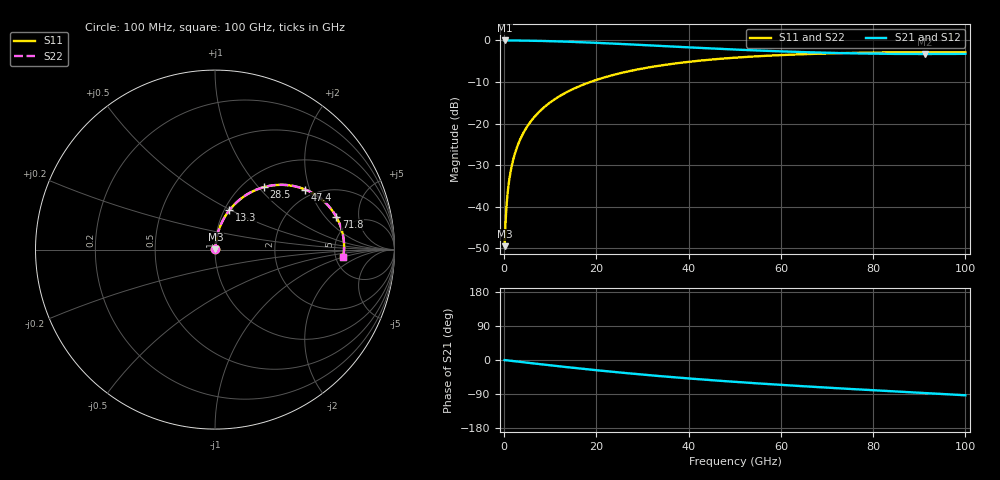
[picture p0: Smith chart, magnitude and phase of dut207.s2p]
! Touchstone file exported from HFSS 2026.1.0
!  File:  C:/ffzhzh/LocalFiles/Ansys_Project_Files/temp_train_RDL_207_1783500790_41296.aedt
!  Generated:  04:54:23 PM Jul  8, 2026
!  Design:  RDL
!  Project:  temp_train_RDL_207_1783500790_41296
! Variables:
!  h_bsmrdl = 2um
!  h_ox = 20um
!  h_rdl = 5um
!  h_sub = 80um
!  h_tmrdl = 3.19um
!  h_tsv = 80um
!  h_via = 3um
!  l_bsmrdl = 300um
!  l_sub = 698.47um
!  l_tmrdl = 298.47um
!  m_sub = 200um
!  pitch = 53.17um
!  r_tsv = 6um
!  s_tmrdl = 10um
!  w_bsmrdl = 18um
!  w_sub = 500um
!  w_tmrdl = 12.63um
!  x_tsv_center1 = 304.785um
!  x_tsv_center2 = 622.785um
!  x_tsv_center3 = 933.885um
!  x_tsv_center4 = 1251.885um
!  x_tsv_center5 = 1562.985um
!  x_tsv_center6 = 1880.985um
# GHz S MA R 50.000000
! Terminal data exported
! Port[1] = TM_RDL1_1_T1
! Port[2] = TM_RDL1_1_T2
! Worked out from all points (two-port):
!   1000 points, 100 MHz to 100 GHz, reference 50 ohm
!   highest |S21| = -0.02 dB at 100 MHz (marker M1); lowest = -3.3 dB at 91.2 GHz (marker M2)
!   |S21| within 3 dB of the highest: start of sweep to 71.45 GHz
!   lowest |S11| = -49.5 dB at 100 MHz (marker M3), VSWR 1.01, Z = 50.3 + j0.194 ohm
!   |S11| at or under -10 dB: start of sweep to 18.69 GHz
!   |S22| runs from -49.5 to -2.9 dB; largest |S21 - S12| = 3.2e-15
!   S11 on the Smith chart (normalised r, x): 100 MHz: 1.01, +0.00; 13.3 GHz: 1.06, +0.49; 28.5 GHz: 1.24, +1.07; 47.4 GHz: 1.77, +1.86; 71.8 GHz: 3.69, +2.63; 100 GHz: 5.84, -1.05
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0.1  0.003359 35.0  0.9973 -0.1  0.9973 -0.1  0.003359 35.0
! Gamma 0 0 0 0
! Port Impedance 50 0 50 0
0.4  0.008179 68.8  0.9971 -0.6  0.9971 -0.6  0.008179 68.8
0.8  0.01542 77.4  0.9968 -1.2  0.9968 -1.2  0.01542 77.4
1.3  0.02456 80.6  0.9965 -1.9  0.9965 -1.9  0.02456 80.6
1.7  0.0319 81.6  0.9962 -2.4  0.9962 -2.4  0.0319 81.7
2.2  0.04109 82.1  0.9958 -3.2  0.9958 -3.2  0.04109 82.1
3.4  0.06309 81.8  0.9944 -4.9  0.9944 -4.9  0.06309 81.8
5.1  0.09396 80.2  0.9914 -7.3  0.9914 -7.3  0.09396 80.2
7.3  0.1331 77.6  0.9862 -10.3  0.9862 -10.3  0.1331 77.6
10  0.1797 74.1  0.9779 -14.0  0.9779 -14.0  0.1797 74.1
13.3  0.2341 69.9  0.9654 -18.4  0.9654 -18.4  0.2341 69.9
16.8  0.2884 65.5  0.9498 -22.9  0.9498 -22.9  0.2884 65.5
22.2  0.3648 59.0  0.9224 -29.6  0.9224 -29.6  0.3648 59.1
28.5  0.4422 51.9  0.8876 -36.9  0.8876 -36.9  0.4422 52.0
33.4  0.4937 46.7  0.8601 -42.1  0.8601 -42.1  0.4937 46.8
47.4  0.6037 33.6  0.7875 -55.4  0.7875 -55.4  0.6037 33.8
50.1  0.6195 31.4  0.7753 -57.7  0.7753 -57.7  0.6195 31.5
66.7  0.6873 18.7  0.7172 -70.6  0.7172 -70.6  0.6873 18.8
71.8  0.6998 15.1  0.7053 -74.2  0.7053 -74.2  0.6998 15.3
83.4  0.7166 7.3  0.6886 -82.1  0.6886 -82.1  0.7166 7.5
91.2  0.7197 2.2  0.6854 -87.2  0.6854 -87.2  0.7197 2.5
100  0.7156 -3.5  0.6895 -93.1  0.6895 -93.1  0.7156 -3.3
